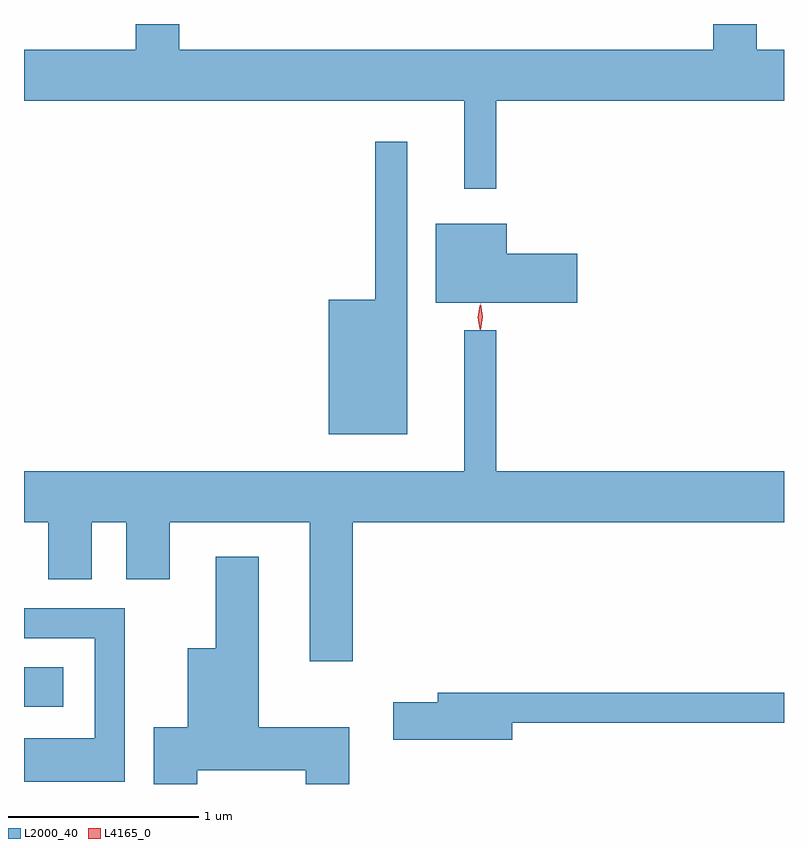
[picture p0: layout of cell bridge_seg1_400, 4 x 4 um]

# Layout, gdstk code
import gdstk
lib = gdstk.Library(unit=1e-6, precision=1e-09)
def R(c, l, rs):  # rectangles x0, y0, x1, y1
    for r in rs: c.add(gdstk.rectangle(r[:2], r[2:], *l))
def P(c, l, *ps):  # polygons
    for p in ps: c.add(gdstk.Polygon(p, *l))
L2000_40 = (2000, 40)
L4165_0 = (4165, 0)

bridge_seg1_400 = lib.new_cell('bridge_seg1_400')
R(bridge_seg1_400, L2000_40, [(555.573,940.786,555.779,940.994)])
P(bridge_seg1_400, L2000_40, [(558.059,943.976),(559.573,943.976),(559.573,944.244),(559.429,944.244),(559.429,944.379),(559.201,944.379),(559.201,944.244),(556.389,944.244),(556.389,944.379),(556.161,944.379),(556.161,944.244),(555.573,944.244),(555.573,943.976),(557.891,943.976),(557.891,943.513),(558.059,943.513)],
  [(557.589,943.758),(557.421,943.758),(557.421,942.929),(557.176,942.929),(557.176,942.221),(557.589,942.221)],
  [(558.484,943.169),(558.114,943.169),(558.114,943.329),(557.741,943.329),(557.741,942.911),(558.484,942.911)],
  [(557.304,941.756),(559.573,941.756),(559.573,942.024),(558.059,942.024),(558.059,942.768),(557.891,942.768),(557.891,942.024),(555.573,942.024),(555.573,941.756),(555.701,941.756),(555.701,941.456),(555.929,941.456),(555.929,941.756),(556.111,941.756),(556.111,941.456),(556.339,941.456),(556.339,941.756),(557.076,941.756),(557.076,941.026),(557.304,941.026)],
  [(556.484,940.451),(557.056,940.451),(557.056,940.379),(557.284,940.379),(557.284,940.679),(556.809,940.679),(556.809,941.574),(556.581,941.574),(556.581,941.094),(556.436,941.094),(556.436,940.679),(556.256,940.679),(556.256,940.379),(556.484,940.379)],
  [(556.104,941.304),(555.573,941.304),(555.573,941.146),(555.946,941.146),(555.946,940.619),(555.573,940.619),(555.573,940.391),(556.104,940.391)],
  [(558.144,940.701),(559.573,940.701),(559.573,940.859),(557.751,940.859),(557.751,940.809),(557.516,940.809),(557.516,940.611),(558.144,940.611)])
P(bridge_seg1_400, L4165_0, [(557.977,942.77),(557.977,942.77),(557.967,942.838),(557.977,942.906),(557.977,942.906),(557.978,942.906),(557.988,942.838),(557.978,942.77)],
  [(557.972,942.773),(557.972,942.773),(557.962,942.836),(557.971,942.899),(557.972,942.9),(557.972,942.899),(557.982,942.836),(557.973,942.773)])

lib.write_gds('bridge_seg1_400.gds')
